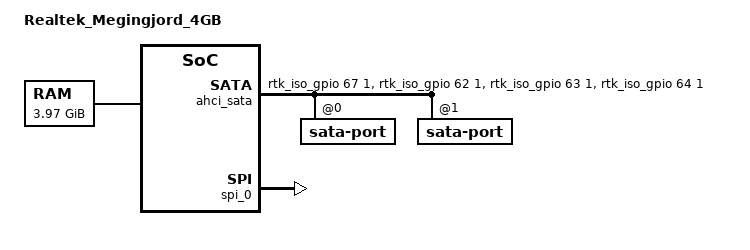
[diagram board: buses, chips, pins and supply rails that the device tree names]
/dts-v1/;
#include <dt-bindings/soc/rtd16xx,memory.h>

/* DRM protect region */
/*/memreserve/ TEE_OS_SLIM_PHYS TEE_OS_SLIM_SIZE;*/
/memreserve/ 0x0F900000 0x00307000;
/* /memreserve/ 0x0FC07000 0x001F9000; */
/* /memreserve/ 0x00000000 0x00001000; */
/* /memreserve/ 0x00002000 0x00001000; */
/* /memreserve/ 0x32b00000 0x12C00000; */

/* platform reserved region */
/memreserve/ 0x80000000 0x00020000; /* CP: 128KB in 1619 */
/memreserve/ 0x88100000 0x02000000; /* NOR remap address: 32MB */
/memreserve/ 0xFF000000 0x01000000; /* JTAG+GIC: 16MB */
/memreserve/ SYS_BOOTCODE_MEMBASE SYS_BOOTCODE_MEMSIZE;
/memreserve/ RPC_COMM_PHYS RPC_COMM_SIZE;
/memreserve/ RPC_RINGBUF_PHYS RPC_RINGBUF_SIZE;
/* /memreserve/ ROOTFS_NORMAL_START ROOTFS_NORMAL_SIZE; */
/memreserve/ ACPU_IDMEM_PHYS ACPU_IDMEM_SIZE;

#define MEDIA_REQ_SIZE_0 (0x0ce00000) // 206M
#define ION_MEDIA_HEAP_PHYS_0 (MEM_SLOT(0, PHYS, MEDIA_REQ_SIZE_0))
#define ION_MEDIA_HEAP_SIZE_0 (MEM_SLOT(0, SIZE, MEDIA_REQ_SIZE_0))
#define ION_MEDIA_HEAP_FLAG_0 (MEM_SLOT(0, FLAG, MEDIA_REQ_SIZE_0))

#define AUDIO_REQ_SIZE_0 (0x00c00000) // 12M
#define ION_AUDIO_HEAP_PHYS_0 (MEM_SLOT(1, PHYS, AUDIO_REQ_SIZE_0))
#define ION_AUDIO_HEAP_SIZE_0 (MEM_SLOT(1, SIZE, AUDIO_REQ_SIZE_0))
#define ION_AUDIO_HEAP_FLAG_0 (MEM_SLOT(1, FLAG, AUDIO_REQ_SIZE_0))

#undef MEM_SLOT_PHYS_2
#undef MEM_SLOT_SIZE_2
#define MEM_SLOT_PHYS_2 (0x16200000)
#define MEM_SLOT_SIZE_2	(0x19E00000) // Max : 414M

#define MEDIA_REQ_SIZE_1 (0x19B00000) // 411M
#define ION_MEDIA_HEAP_PHYS_1 (MEM_SLOT(2, PHYS, MEDIA_REQ_SIZE_1))
#define ION_MEDIA_HEAP_SIZE_1 (MEM_SLOT(2, SIZE, MEDIA_REQ_SIZE_1))
#define ION_MEDIA_HEAP_FLAG_1 (MEM_SLOT(2, FLAG, MEDIA_REQ_SIZE_1))

/memreserve/ ION_MEDIA_HEAP_PHYS_0  ION_MEDIA_HEAP_SIZE_0;
/memreserve/ ION_AUDIO_HEAP_PHYS_0  ION_AUDIO_HEAP_SIZE_0;
/memreserve/ ION_MEDIA_HEAP_PHYS_1  ION_MEDIA_HEAP_SIZE_1;

#include "rtd-1619-megingjord.dtsi"
#include "rtd-1619-usb.dtsi"
#include "rtd-1619-sata.dtsi"

/ {
	model= "Realtek_Megingjord_4GB";
	model_hex= <0x00000653>;

	/*
	 * NOTE:
	 * <flag size base>
	 * flag: reserved
	 * size: unit is byte
	 * base: unit is byte
	 *
	 * Array size not over 8;
	 * You may change the max array size in KConfig,
	 * max CMA array size is CONFIG_CMA_AREAS+1.
	 *
	 * If cma-region-enable is enabled<1>,
	 * kernel driver will use cma-region-info to initial CMA memory.
	 *
	 * If cma-region-enable is disabled<0>,
	 * kernel driver will use cma= to initial CMA memory.
	 *
	 * if both setting is loaded, cma-region-info had higher priority.
	 */

	chosen {
		bootargs = "earlycon=uart8250,mmio32,0x98007800 console=ttyS0,115200";
		swiotlb-memory-reservation-size = <512>; /*  512: 1MB,  2048: 4MB*/
		swiotlb-force = <0>; /* 0: SWIOTLB_NORMAL, 1: SWIOTLB_FORCE, 2: SWIOTLB_NO_FORCE */
		cma-region-enable = <1>;
		cma-region-info = <0x00000000 0x02000000 0x14200000>;
		/*cma-region-info = <0x00000000 0x01000000 0x12c00000>, <0x00000000 0x12c00000 0x20000000>;*/
	};

	arm_psci {
		compatible = "arm,psci-0.2";
		method = "smc";
	};

	memory@0 {
		device_type = "memory";
		reg = <0x00000000 0x00000000 0x00000000 0x98000000>,
		      <0x00000000 0x99000000 0x00000000 0x66000000>; /* 4096 MB */
	};

	firmware {
		android {
			compatible = "android,firmware";
			fstab {
				compatible = "android,fstab";
				system {
					compatible = "android,system";
					dev = "/dev/block/platform/98012000.emmc/by-name/system";
					type = "ext4";
					mnt_flags = "ro,noatime";
					fsmgr_flags = "wait";
				};
				vendor {
					compatible = "android,vendor";
					dev = "/dev/block/platform/98012000.emmc/by-name/vendor";
					type = "ext4";
					mnt_flags = "ro,noatime";
					fsmgr_flags = "wait";
				};
			};
		};
		optee {
			compatible = "linaro,optee-tz";
			method = "smc";
		};
	};

	reserved-memory {
		#address-cells = <2>;
		#size-cells = <2>;
		ranges;

		rbus@0 {
			compatible = "rsvmem-remap";
			save_remap_name = "rbus";
			reg = <0x0 RBUS_BASE_PHYS 0x0 RBUS_BASE_SIZE>;
			rtk_rbus_barrier_flag;
		};

		common@0 {
			compatible = "rsvmem-remap";
			save_remap_name = "common";
			reg = <0x0 RPC_COMM_PHYS 0x0 RPC_COMM_SIZE>;
		};

		ringbuf@0 {
			compatible = "rsvmem-remap";
			save_remap_name = "ringbuf";
			reg = <0x0 RPC_RINGBUF_PHYS 0x0 RPC_RINGBUF_SIZE>;
		};
	};

	rtk_avcpu {
		compatible = "Realtek,rtk-avcpu";
		#address-cells = <1>;
		#size-cells = <1>;

		crt@0 {
			reg = <0x98000000 0x200000>;
		};

		rpc@0 {
			reg = <RPC_COMM_PHYS RPC_COMM_SIZE>;
		};

		avlog {
			sync_lock = <&sb2_lock_avlog>;
			sync_lock_timeout = <500>; /* ms */
			log_check_period = <500>; /* ms */
		};
	};

	rtk,ion {
		compatible = "Realtek,rtk-ion";
		#address-cells = <1>;
		#size-cells = <0>;

		rtk,ion-heap@0 { /* SYSTEM_HEAP */
			compatible = "Realtek,rtk-ion-reserve";
			reg = <0>;
			rtk,memory-reservation-size = <0x0>;
		};

		rtk,ion-heap@1 { /* System contig */
			compatible = "Realtek,rtk-ion-reserve";
			reg = <1>;
			rtk,memory-reservation-size = <0x0>;
		};

		rtk,ion-heap@4 { /* DMA_HEAP */
			compatible = "Realtek,rtk-ion-reserve";
			reg = <4>;
			rtk,memory-reservation-size = <0x0>;
		};

		rtk,ion-heap@8 { /* Audio */
			compatible = "Realtek,rtk-ion-reserve";
			reg = <8>;
			rtk,memory-reserve = <
				ION_AUDIO_HEAP_PHYS_0
				ION_AUDIO_HEAP_SIZE_0
				ION_AUDIO_HEAP_FLAG_0>;
		};

		rtk,ion-heap@7 { /* TYPE_MEDIA */
			compatible = "Realtek,rtk-ion-reserve";
			reg = <7>;
			rtk,memory-reserve = <
				ION_MEDIA_HEAP_PHYS_0
				ION_MEDIA_HEAP_SIZE_0
				ION_MEDIA_HEAP_FLAG_0
				ION_MEDIA_HEAP_PHYS_1
				ION_MEDIA_HEAP_SIZE_1
				ION_MEDIA_HEAP_FLAG_1>;
		};
	};

	rtk-fb {
		compatible = "Realtek,rtk-fb";
		buffer-cnt = <1>;
		resolution = <1920 1080>;
		fps = <60>;
		osd-init = <1>;
	};

	rtk_usb_power_manager@0 {
		gpio1: gpio1 {
			/delete-property/realtek,power-gpio; //gpio48
		};
	};

	dwc3_drd: rtk_dwc3_drd@98013200 {
		dwc3_drd@98020000 {
			dr_mode = "host"; /*host, peripheral*/
		};
		rtk_dwc3_drd_type_c@0 {
			status = "disabled";
		};
	};

	dwc3_u2host: rtk_dwc3_u2host@98013C00 {
		status = "disabled";
	};

	dwc3_u3host: rtk_dwc3_u3host@98013E00 {
		/delete-property/dis_u3_port; // Disable usb 3.0 port

		dwc3_u3host@981F0000 {
			/delete-property/snps,dis_u3_susphy_quirk;
		};
	};

	sdio: sdio@98010A00 {
		status = "disabled";
	};

	hdmirx@98034000 {
		status = "disabled";
	};

	smartcard@9801BE00 {
		status = "disabled";
	};

	spdif {
		status = "disabled";
	};

	rfkill: rfkilligpio {
		status = "disabled";
	};

	uart1: serial1@9801B200 {
		status = "disabled";
	};

	uart2: serial2@9801B400 {
		status = "disabled";
	};

	hse@98005000 {
		status = "disabled";
	};

	rtk_iso_gpio: rtk_iso_gpio@98007100 {
		gpios = <&rtk_iso_gpio 60 1 1>;
                autorepeat;
                label = "gpio-keys";
                power-button {
                       wakeup-source;
                       gpios = <&rtk_iso_gpio 2 0 1>;
                       label = "Power Button";
                       linux,code = <0x74>;
                       key-is-active-low;
                };

	};

	dptx@9803D000 {
		compatible = "Realtek,rtk-dptx";
		reg = <0x0 0x9803D000 0x0 0x1000>,
			<0x0 0x98000000 0x0 0x1000>,
			<0x0 0x98009400 0x0 0x600>,
			<0x0 0x98080000 0x0 0x2000>;
		interrupts = <0 29 4>; /*gen Ri*/
		clocks = <&clk_en_4 CLK_EN_EDP>,
			<&clk_en_4 CLK_EN_TSIO_TRX>,
			<&clk_en_1 CLK_EN_TVE>,
			<&clk_en_1 CLK_EN_VO>;
		clock-names = "clk_en_edp",
			"clk_en_tsio_trx",
			"clk_en_tve",
			"clk_en_vo";
		resets = <&iso_rst RSTN_DP>,
			<&crst RSTN_EDP>,
			<&crst RSTN_TVE>,
			<&crst RSTN_VO>;
		reset-names = "dp",
			"edp",
			"tve",
			"vo";
		dp_hpd {
			gpios = <&rtk_iso_gpio 78 0 0>; /*HPD, input, default N/A */
		};
	};
	ahci_sata: sata@9803F000 {
		gpios = <&rtk_iso_gpio 67 1 1>,
			<&rtk_iso_gpio 62 1 1>,
			<&rtk_iso_gpio 63 1 1>,
			<&rtk_iso_gpio 64 1 1>;
		sata-port@0 {
			/delete-property/ gpios;
		};
		sata-port@1 {
			/delete-property/ gpios;
		};
	};

	rtk_pm@0 {
		wakeup-flags = <0x3d>; /* Bits [5] CEC [4] timer [3]Alarm [2]GPIO [1]IR [0]LAN  */
	};	
	spi_0: spi@9801BD00 {
		status = "okay";
	};
	watchdog@0x98007680 {
                status = "disabled";
        };			
};
